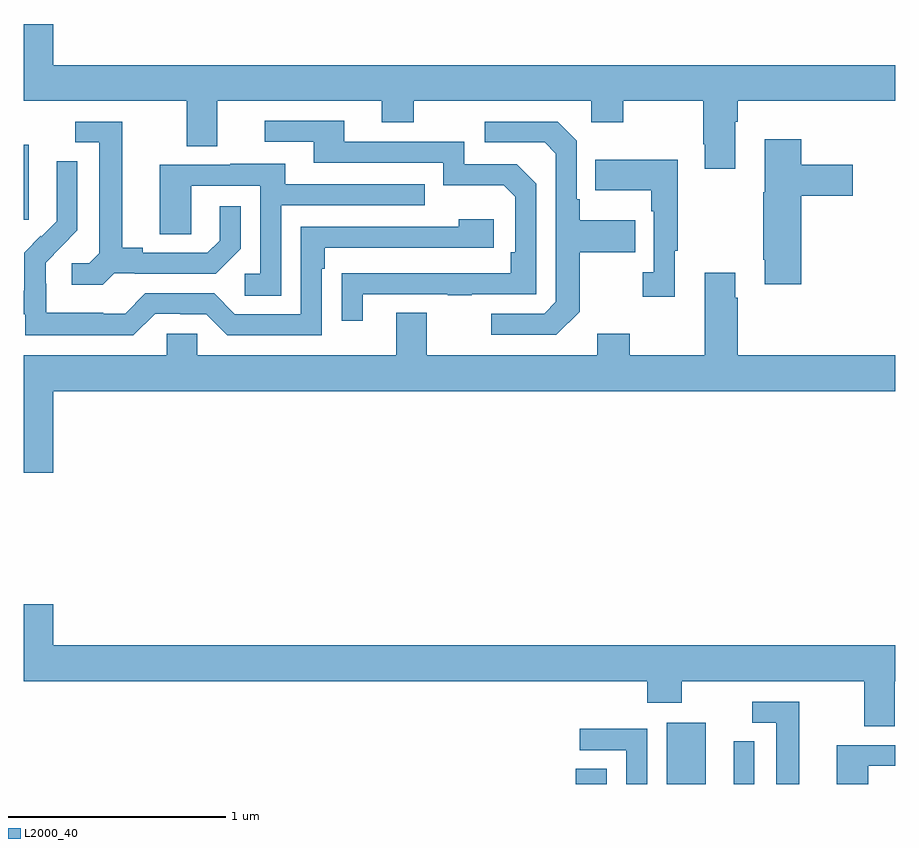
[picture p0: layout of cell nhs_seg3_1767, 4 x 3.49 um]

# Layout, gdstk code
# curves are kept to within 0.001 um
import gdstk
lib = gdstk.Library(unit=1e-6, precision=1e-09)
def R(c, l, rs):  # rectangles x0, y0, x1, y1
    for r in rs: c.add(gdstk.rectangle(r[:2], r[2:], *l))
def P(c, l, *ps):  # polygons
    for p in ps: c.add(gdstk.Polygon(p, *l))
L2000_40 = (2000, 40)

nhs_seg3_1767 = lib.new_cell('nhs_seg3_1767')
R(nhs_seg3_1767, L2000_40, [(203.534,744.4,203.677,744.47), (203.951,744.4,204.13,744.682), (201,746.99,201.022,747.334)])
P(nhs_seg3_1767, L2000_40, [(204.265,747.44),(204.278,747.44),(204.278,747.536),(205,747.536),(205,747.7),(201.136,747.7),(201.136,747.889),(201,747.889),(201,747.536),(201.749,747.536),(201.749,747.328),(201.889,747.328),(201.889,747.536),(202.643,747.536),(202.643,747.437),(202.791,747.437),(202.791,747.536),(203.604,747.536),(203.604,747.437),(203.751,747.437),(203.751,747.536),(204.118,747.536),(204.118,747.337),(204.125,747.337),(204.125,747.225),(204.265,747.225)],
  [(202.555,746.649),(202.945,746.649),(202.945,746.644),(203.057,746.644),(203.057,746.649),(203.352,746.649),(203.352,747.156),(203.262,747.246),(203.022,747.246),(203.022,747.348),(202.471,747.348),(202.471,747.444),(202.107,747.444),(202.107,747.348),(202.331,747.348),(202.331,747.252),(202.926,747.252),(202.926,747.149),(203.203,747.149),(203.256,747.096),(203.256,746.842),(203.236,746.842),(203.236,746.745),(202.459,746.744),(202.459,746.526),(202.555,746.526)],
  [(201.414,746.745),(201.508,746.745),(201.508,746.742),(201.88,746.742),(201.996,746.858),(201.996,747.052),(201.899,747.052),(201.899,746.895),(201.842,746.838),(201.547,746.838),(201.547,746.861),(201.451,746.861),(201.451,747.441),(201.237,747.441),(201.237,747.345),(201.347,747.345),(201.347,746.837),(201.3,746.79),(201.219,746.79),(201.219,746.693),(201.362,746.693)],
  [(203.551,746.569),(203.551,746.842),(203.807,746.842),(203.807,746.989),(203.551,746.989),(203.551,747.085),(203.538,747.085),(203.538,747.354),(203.451,747.441),(203.115,747.441),(203.115,747.345),(203.391,747.345),(203.442,747.294),(203.442,746.613),(203.388,746.559),(203.145,746.559),(203.145,746.463),(203.445,746.463)],
  [(204.569,747.101),(204.805,747.101),(204.805,747.243),(204.569,747.243),(204.569,747.361),(204.401,747.361),(204.401,747.117),(204.394,747.117),(204.394,746.806),(204.401,746.806),(204.401,746.694),(204.569,746.694)],
  [(203.989,746.849),(204.001,746.849),(204.001,747.265),(203.623,747.265),(203.623,747.125),(203.88,747.125),(203.88,747.029),(203.892,747.029),(203.892,746.75),(203.841,746.75),(203.841,746.637),(203.989,746.637)],
  [(201.603,746.559),(201.719,746.559),(201.719,746.556),(201.837,746.556),(201.933,746.46),(202.368,746.46),(202.368,746.765),(202.381,746.765),(202.381,746.862),(203.158,746.862),(203.158,746.992),(202.997,746.992),(202.997,746.958),(202.272,746.958),(202.272,746.556),(201.969,746.556),(201.873,746.652),(201.558,746.652),(201.465,746.559),(201.365,746.559),(201.365,746.563),(201.102,746.563),(201.102,746.697),(201.1,746.697),(201.1,746.794),(201.246,746.942),(201.246,747.26),(201.15,747.26),(201.15,747.088),(201.152,747.088),(201.152,746.984),(201.081,746.913),(201.078,746.916),(201.001,746.839),(201,746.556),(201.006,746.556),(201.006,746.459),(201.503,746.459)],
  [(202.182,747.057),(202.841,747.057),(202.841,747.153),(202.201,747.153),(202.201,747.247),(201.947,747.247),(201.947,747.243),(201.623,747.243),(201.623,746.923),(201.768,746.923),(201.768,747.147),(202.086,747.147),(202.086,746.742),(202.014,746.742),(202.014,746.641),(202.182,746.641)],
  [(201.136,746.204),(205,746.204),(205,746.368),(204.278,746.368),(204.278,746.633),(204.265,746.633),(204.265,746.746),(204.125,746.746),(204.125,746.368),(203.781,746.368),(203.781,746.467),(203.633,746.467),(203.633,746.368),(202.849,746.368),(202.849,746.563),(202.709,746.563),(202.709,746.368),(201.795,746.368),(201.795,746.466),(201.657,746.466),(201.657,746.368),(201,746.368),(201,745.83),(201.136,745.83)],
  [(204.997,744.872),(205,744.872),(205,745.036),(201.136,745.036),(201.136,745.225),(201,745.225),(201,744.872),(203.861,744.872),(203.861,744.773),(204.021,744.773),(204.021,744.872),(204.857,744.872),(204.857,744.664),(204.997,744.664)],
  [(204.559,744.777),(204.345,744.777),(204.345,744.681),(204.455,744.681),(204.455,744.4),(204.559,744.4)],
  [(203.862,744.654),(203.553,744.654),(203.553,744.555),(203.766,744.555),(203.766,744.4),(203.862,744.4)],
  [(204.354,744.596),(204.258,744.596),(204.258,744.442),(204.26,744.442),(204.26,744.4),(204.354,744.4)],
  [(204.876,744.483),(205,744.483),(205,744.579),(204.731,744.579),(204.731,744.4),(204.876,744.4)])

lib.write_gds('nhs_seg3_1767.gds')
